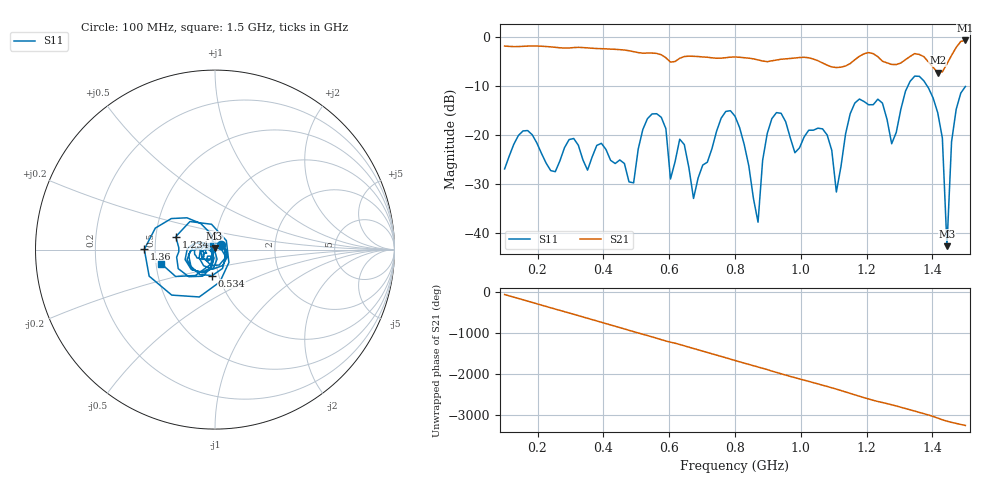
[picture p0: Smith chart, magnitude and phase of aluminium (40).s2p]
! NanoVNA-App
! Date: 2025-09-26 09:58:22
! Start: 100MHz Stop: 1,5GHz Points: 101
! S-Parameter data: F S11 S21 S12 S22
# Hz S RI R 50
!  Frequency  S11_Real  S11_Imag  S21_Real  S21_Imag  S12_Real  S12_Imag  S22_Real  S22_Imag
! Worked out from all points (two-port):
!   101 points, 100 MHz to 1.5 GHz, reference 50 ohm
!   highest |S21| = -0.77 dB at 1.5 GHz (marker M1); lowest = -7.3 dB at 1.416 GHz (marker M2)
!   |S21| within 3 dB of the highest: start of sweep to 577.8 MHz; 1.184 GHz to 1.227 GHz (42.42 MHz wide, 3.52 % of centre) (the widest 2 of 4)
!   lowest |S11| = -42.8 dB at 1.444 GHz (marker M3), VSWR 1.01, Z = 49.7 + j0.674 ohm
!   |S11| at or under -10 dB: start of sweep to 1.326 GHz; 1.383 GHz to end of sweep
!   S12 and S22 are empty: the file has one direction only
!   S11 on the Smith chart (normalised r, x): 100 MHz: 1.07, +0.06; 534 MHz: 0.93, -0.28; 1.234 GHz: 0.64, +0.10; 1.36 GHz: 0.43, +0.00; 1.5 GHz: 0.53, -0.09
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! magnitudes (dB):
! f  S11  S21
! 100 MHz  -27.0  -1.9
! 338 MHz  -25.2  -2.2
! 492 MHz  -29.9  -3.1
! 534 MHz  -16.7  -3.3
! 576 MHz  -16.5  -3.7
! 604 MHz  -29.1  -5.2
! 632 MHz  -20.9  -4.4
! 674 MHz  -33.0  -4.0
! 800 MHz  -16.2  -4.1
! 870 MHz  -37.9  -4.7
! 912 MHz  -16.7  -4.9
! 1.038 GHz  -19.1  -4.6
! 1.108 GHz  -31.7  -6.3
! 1.164 GHz  -13.6  -4.7
! 1.234 GHz  -12.8  -4.1
! 1.276 GHz  -21.9  -5.7
! 1.36 GHz  -8.1  -3.6
! 1.416 GHz  -15.6  -7.3
! 1.43 GHz  -20.7  -7.2
! 1.444 GHz  -42.8  -5.6
! 1.458 GHz  -21.4  -3.8
! 1.5 GHz  -10.2  -0.8
